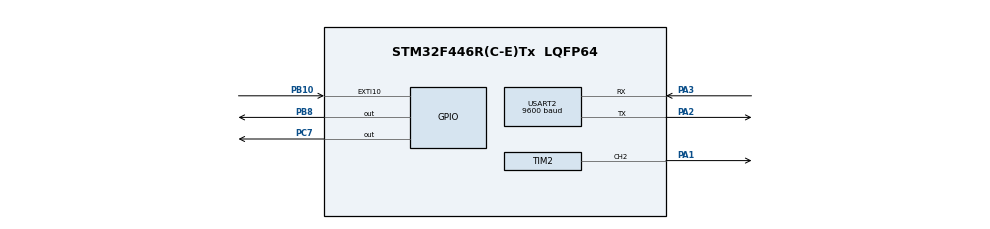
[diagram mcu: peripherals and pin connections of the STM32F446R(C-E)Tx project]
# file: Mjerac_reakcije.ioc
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Mcu.Family=STM32F4
Mcu.Name=STM32F446R(C-E)Tx
Mcu.Package=LQFP64
NVIC.EXTI15_10_IRQn=true\:3\:0\:true\:false\:true\:true\:true\:true
NVIC.PriorityGroup=NVIC_PRIORITYGROUP_4
NVIC.TIM6_DAC_IRQn=true\:3\:0\:true\:false\:true\:true\:true\:true
PA1.Signal=S_TIM2_CH2
PA13.Mode=Serial_Wire
PA13.Signal=SYS_JTMS-SWDIO
PA14.Mode=Serial_Wire
PA14.Signal=SYS_JTCK-SWCLK
PA2.Mode=Asynchronous
PA2.Signal=USART2_TX
PA3.Mode=Asynchronous
PA3.Signal=USART2_RX
PB10.GPIO_ModeDefaultEXTI=GPIO_MODE_IT_FALLING
PB10.GPIO_PuPd=GPIO_PULLUP
PB10.Signal=GPXTI10
PB8.Signal=GPIO_Output
PC7.Signal=GPIO_Output
ProjectManager.HeapSize=0x200
ProjectManager.StackSize=0x400
ProjectManager.TargetToolchain=STM32CubeIDE
RCC.CortexFreq_Value=16000000
RCC.USBFreq_Value=96000000
RCC.VCOOutputFreq_Value=192000000
SH.S_TIM2_CH2.0=TIM2_CH2,PWM Generation2 CH2
TIM2.Channel-PWM\ Generation2\ CH2=TIM_CHANNEL_2
TIM2.Period=499
TIM2.Prescaler=15
TIM2.Pulse-PWM\ Generation2\ CH2=250
TIM6.Period=999
TIM6.Prescaler=15
USART2.BaudRate=9600
USART2.VirtualMode=VM_ASYNC
VP_TIM6_VS_ClockSourceINT.Mode=Enable_Timer
board=custom

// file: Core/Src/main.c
/* USER CODE BEGIN Header */
/**
  ******************************************************************************
  * @file           : main.c
  * @brief          : Main program body
  ******************************************************************************
  * @attention
  *
  * Copyright (c) 2026 STMicroelectronics.
  * All rights reserved.
  *
  * This software is licensed under terms that can be found in the LICENSE file
  * in the root directory of this software component.
  * If no LICENSE file comes with this software, it is provided AS-IS.
  *
  ******************************************************************************
  */
/* USER CODE END Header */
#include "main.h"
#include "tim.h"
#include "usart.h"
#include "gpio.h"

/* USER CODE BEGIN Includes */
#include <stdio.h>
#include <stdlib.h>

#ifdef __GNUC__
#define PUTCHAR_PROTOTYPE int __io_putchar(int ch)
#define GETCHAR_PROTOTYPE int __io_getchar(void)
#else
#define PUTCHAR_PROTOTYPE int fputc(int ch, FILE *f)
#define GETCHAR_PROTOTYPE int fgetc(FILE *f)
#endif

PUTCHAR_PROTOTYPE {
  HAL_UART_Transmit(&huart2, (uint8_t*)&ch, 1, HAL_MAX_DELAY);
  return ch;
}
GETCHAR_PROTOTYPE {
  uint8_t ch = 0;
  __HAL_UART_CLEAR_OREFLAG(&huart2);
  HAL_UART_Receive(&huart2, (uint8_t*)&ch, 1, HAL_MAX_DELAY);
  HAL_UART_Transmit(&huart2, (uint8_t*)&ch, 1, HAL_MAX_DELAY);
  return ch;
}
/* USER CODE END Includes */

/* USER CODE BEGIN PV */
volatile uint32_t ms_counter = 0;
volatile uint8_t  button_flag = 0;
volatile uint32_t press_time  = 0;
volatile uint32_t last_press  = 0;

typedef enum { IDLE, WAITING, REACTING } GameState;
/* USER CODE END PV */

void SystemClock_Config(void);
/* USER CODE BEGIN PFP */
void beep(uint32_t arr, uint32_t ms);
/* USER CODE END PFP */

int main(void)
{

  /* USER CODE BEGIN 1 */
	setvbuf(stdin, NULL, _IONBF, 0);
  /* USER CODE END 1 */

  /* MCU Configuration--------------------------------------------------------*/

  /* Reset of all peripherals, Initializes the Flash interface and the Systick. */
  HAL_Init();

  /* Configure the system clock */
  SystemClock_Config();

  /* Initialize all configured peripherals */
  MX_GPIO_Init();
  MX_TIM2_Init();
  MX_TIM6_Init();
  MX_USART2_UART_Init();
  /* USER CODE BEGIN 2 */
  HAL_TIM_Base_Start_IT(&htim6);

  GameState state = IDLE;
  uint32_t wait_start = 0, go_instant = 0;
  uint32_t random_delay = 0, reaction_time = 0;
  uint32_t best_time = 0xFFFFFFFF;
  uint32_t runda = 0;

  printf("\r\n");
  printf("========================================\r\n");
  printf("      MJERAC REAKCIJSKOG VREMENA\r\n");
  printf("========================================\r\n");
  printf("Pritisni tipkalo za start.\r\n\r\n");
  /* USER CODE END 2 */

  /* Infinite loop */
  while (1)
  {

    /* USER CODE BEGIN 3 */
	  switch (state) {
	    case IDLE:
	      if (button_flag) {
	        button_flag = 0;
	        srand(ms_counter);
	        random_delay = 1000 + (rand() % 4000);
	        HAL_GPIO_WritePin(GPIOC, GPIO_PIN_7, GPIO_PIN_RESET);
	        HAL_GPIO_WritePin(GPIOB, GPIO_PIN_8, GPIO_PIN_RESET);
	        wait_start = ms_counter;
	        state = WAITING;
	        runda++;
	        printf("----- Runda %lu -----\r\n", (unsigned long)runda);
	        printf("Cekaj zeleno...\r\n");
	      }
	      break;

	    case WAITING:
	      if (button_flag) {
	        button_flag = 0;
	        printf("FALSTART! Prerano.\r\n");
	        beep(665, 200);
	        for (int i = 0; i < 6; i++) {
	          HAL_GPIO_TogglePin(GPIOB, GPIO_PIN_8);
	          HAL_Delay(120);
	        }
	        HAL_GPIO_WritePin(GPIOB, GPIO_PIN_8, GPIO_PIN_RESET);
	        button_flag = 0;
	        last_press  = ms_counter;
	        state = IDLE;
	        printf("Pritisni tipkalo za start.\r\n\r\n");
	      }
	      else if (ms_counter - wait_start >= random_delay) {
	        HAL_GPIO_WritePin(GPIOC, GPIO_PIN_7, GPIO_PIN_SET);
	        go_instant = ms_counter;
	        state = REACTING;
	      }
	      break;

	    case REACTING:
	      if (button_flag) {
	        button_flag = 0;
	        reaction_time = press_time - go_instant;
	        HAL_GPIO_WritePin(GPIOC, GPIO_PIN_7, GPIO_PIN_RESET);
	        if (reaction_time < best_time) best_time = reaction_time;
	        printf("Reakcija : %lu ms\r\n", (unsigned long)reaction_time);
	        printf("Najbolje : %lu ms\r\n", (unsigned long)best_time);
	        printf("----------------------\r\n\r\n");
	        beep(399, 80);
	        button_flag = 0;
	        last_press  = ms_counter;
	        state = IDLE;
	        printf("Pritisni tipkalo za start.\r\n\r\n");
	      }
	      break;
	  }
  }
  /* USER CODE END 3 */
}

void SystemClock_Config(void)
{
  RCC_OscInitTypeDef RCC_OscInitStruct = {0};
  RCC_ClkInitTypeDef RCC_ClkInitStruct = {0};

  /** Configure the main internal regulator output voltage
  */
  __HAL_RCC_PWR_CLK_ENABLE();
  __HAL_PWR_VOLTAGESCALING_CONFIG(PWR_REGULATOR_VOLTAGE_SCALE3);

  /** Initializes the RCC Oscillators according to the specified parameters
  * in the RCC_OscInitTypeDef structure.
  */
  RCC_OscInitStruct.OscillatorType = RCC_OSCILLATORTYPE_HSI;
  RCC_OscInitStruct.HSIState = RCC_HSI_ON;
  RCC_OscInitStruct.HSICalibrationValue = RCC_HSICALIBRATION_DEFAULT;
  RCC_OscInitStruct.PLL.PLLState = RCC_PLL_NONE;
  if (HAL_RCC_OscConfig(&RCC_OscInitStruct) != HAL_OK)
  {
    Error_Handler();
  }

  /** Initializes the CPU, AHB and APB buses clocks
  */
  RCC_ClkInitStruct.ClockType = RCC_CLOCKTYPE_HCLK|RCC_CLOCKTYPE_SYSCLK
                              |RCC_CLOCKTYPE_PCLK1|RCC_CLOCKTYPE_PCLK2;
  RCC_ClkInitStruct.SYSCLKSource = RCC_SYSCLKSOURCE_HSI;
  RCC_ClkInitStruct.AHBCLKDivider = RCC_SYSCLK_DIV1;
  RCC_ClkInitStruct.APB1CLKDivider = RCC_HCLK_DIV1;
  RCC_ClkInitStruct.APB2CLKDivider = RCC_HCLK_DIV1;

  if (HAL_RCC_ClockConfig(&RCC_ClkInitStruct, FLASH_LATENCY_0) != HAL_OK)
  {
    Error_Handler();
  }
}

/* USER CODE BEGIN 4 */

void beep(uint32_t arr, uint32_t ms) {
  __HAL_TIM_SET_AUTORELOAD(&htim2, arr);
  __HAL_TIM_SET_COMPARE(&htim2, TIM_CHANNEL_2, arr / 2);
  HAL_TIM_PWM_Start(&htim2, TIM_CHANNEL_2);
  HAL_Delay(ms);
  HAL_TIM_PWM_Stop(&htim2, TIM_CHANNEL_2);
}

void HAL_TIM_PeriodElapsedCallback(TIM_HandleTypeDef *htim) {
  if (htim->Instance == TIM6) {
    ms_counter++;
  }
}

void HAL_GPIO_EXTI_Callback(uint16_t GPIO_Pin) {
  if (GPIO_Pin == GPIO_PIN_10) {
    if (ms_counter - last_press > 200) {
      button_flag = 1;
      press_time  = ms_counter;
      last_press  = ms_counter;
    }
  }
}
/* USER CODE END 4 */

void Error_Handler(void)
{
  __disable_irq();
  while (1)
  {
  }
}
